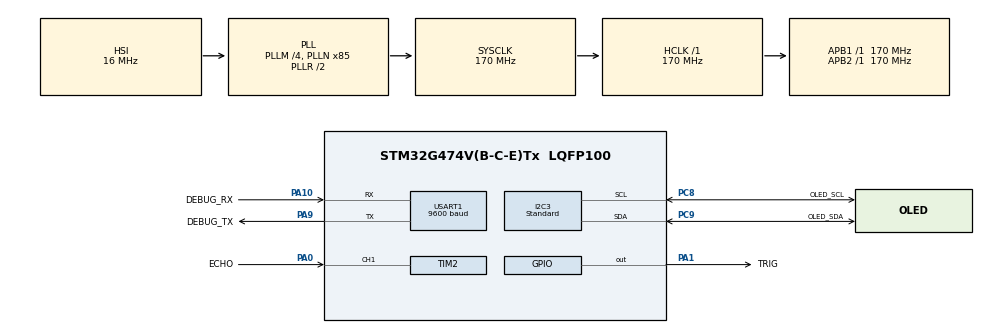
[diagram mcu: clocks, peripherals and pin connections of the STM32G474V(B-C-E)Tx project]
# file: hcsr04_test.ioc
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Mcu.Family=STM32G4
Mcu.Name=STM32G474V(B-C-E)Tx
Mcu.Package=LQFP100
NVIC.PriorityGroup=NVIC_PRIORITYGROUP_4
PA0.GPIO_Label=ECHO
PA0.Signal=S_TIM2_CH1
PA1.GPIO_Label=TRIG
PA1.Signal=GPIO_Output
PA10.GPIO_Label=DEBUG_RX
PA10.Mode=Asynchronous
PA10.Signal=USART1_RX
PA13.Mode=Serial_Wire
PA13.Signal=SYS_JTMS-SWDIO
PA14.Mode=Serial_Wire
PA14.Signal=SYS_JTCK-SWCLK
PA9.GPIO_Label=DEBUG_TX
PA9.Mode=Asynchronous
PA9.Signal=USART1_TX
PC14-OSC32_IN.Mode=LSE-External-Oscillator
PC14-OSC32_IN.Signal=RCC_OSC32_IN
PC15-OSC32_OUT.Mode=LSE-External-Oscillator
PC15-OSC32_OUT.Signal=RCC_OSC32_OUT
PC8.GPIO_Label=OLED_SCL
PC8.GPIO_Speed=GPIO_SPEED_FREQ_LOW
PC8.Mode=I2C
PC8.Signal=I2C3_SCL
PC9.GPIO_Label=OLED_SDA
PC9.GPIO_Speed=GPIO_SPEED_FREQ_LOW
PC9.Mode=I2C
PC9.Signal=I2C3_SDA
PF0-OSC_IN.Mode=HSE-External-Oscillator
PF0-OSC_IN.Signal=RCC_OSC_IN
PF1-OSC_OUT.Mode=HSE-External-Oscillator
PF1-OSC_OUT.Signal=RCC_OSC_OUT
ProjectManager.HeapSize=0x200
ProjectManager.StackSize=0x400
ProjectManager.TargetToolchain=STM32CubeIDE
RCC.ADC12Freq_Value=170000000
RCC.ADC345Freq_Value=170000000
RCC.AHBFreq_Value=170000000
RCC.APB1Freq_Value=170000000
RCC.APB1TimFreq_Value=170000000
RCC.APB2Freq_Value=170000000
RCC.APB2TimFreq_Value=170000000
RCC.CortexFreq_Value=170000000
RCC.EXTERNAL_CLOCK_VALUE=12288000
RCC.HCLKFreq_Value=170000000
RCC.HSE_VALUE=8000000
RCC.HSI48_VALUE=48000000
RCC.HSI_VALUE=16000000
RCC.PLLM=RCC_PLLM_DIV4
RCC.PLLN=85
RCC.SYSCLKFreq_VALUE=170000000
RCC.SYSCLKSource=RCC_SYSCLKSOURCE_PLLCLK
RCC.USBFreq_Value=170000000
RCC.VCOOutputFreq_Value=340000000
I2C3.AddressingMode=I2C_ADDRESSINGMODE_7BIT
I2C3.Analog_Filter=I2C_ANALOGFILTER_ENABLE
I2C3.DualAddressMode=I2C_DUALADDRESS_DISABLE
I2C3.GeneralCallMode=I2C_GENERALCALL_DISABLE
I2C3.I2C_Coeff_DF=0
I2C3.I2C_Fall_Time=20
I2C3.I2C_Rise_Time=640
I2C3.I2C_Speed_Mode=I2C_Standard
I2C3.NoStretchMode=I2C_NOSTRETCH_DISABLE
I2C3.OwnAddress=0
I2C3.Speed=100
I2C3.Timing=0x40829D9F
SH.S_TIM2_CH1.0=TIM2_CH1,Input_Capture1_from_TI1
SH.S_TIM2_CH1.1=TIM2_CH1,Input_Capture2_from_TI1
TIM2.AutoReloadPreload=TIM_AUTORELOAD_PRELOAD_DISABLE
TIM2.Channel-Input_Capture1_from_TI1=TIM_CHANNEL_1
TIM2.Channel-Input_Capture2_from_TI1=TIM_CHANNEL_2
TIM2.ClockDivision=TIM_CLOCKDIVISION_DIV1
TIM2.CounterMode=TIM_COUNTERMODE_UP
TIM2.ICFilter_CH1=0
TIM2.ICPolarity_CH1=TIM_INPUTCHANNELPOLARITY_RISING
TIM2.ICPolarity_CH2=TIM_INPUTCHANNELPOLARITY_FALLING
TIM2.ICPrescaler-Input_Capture1_from_TI1=TIM_ICPSC_DIV1
TIM2.ICPrescaler-Input_Capture2_from_TI1=TIM_ICPSC_DIV1
TIM2.ICSelection-Input_Capture1_from_TI1=TIM_ICSELECTION_DIRECTTI
TIM2.ICSelection-Input_Capture2_from_TI1=TIM_ICSELECTION_INDIRECTTI
TIM2.Period=0xFFFFFFFF
TIM2.Prescaler=169
TIM2.SlaveMode=TIM_SLAVEMODE_RESET
TIM2.TriggerFilter=0
TIM2.TriggerPolarity=TIM_TRIGGERPOLARITY_RISING
TIM2.TriggerPrescaler=TIM_TRIGGERPRESCALER_DIV1
TIM2.TriggerSource=TIM_TS_TI1FP1
USART1.BaudRate=9600
USART1.Mode=MODE_TX_RX
USART1.OneBitSampling=UART_ONE_BIT_SAMPLE_DISABLE
USART1.OverSampling=UART_OVERSAMPLING_16
USART1.Parity=PARITY_NONE
USART1.StopBits=STOPBITS_1
USART1.VirtualMode-Asynchronous=VM_ASYNC
USART1.WordLength=WORDLENGTH_8B
VP_SYS_VS_DBSignals.Mode=DisableDeadBatterySignals
board=custom

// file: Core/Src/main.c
/* USER CODE BEGIN Header */
/**
  ******************************************************************************
  * @file           : main.c
  * @brief          : Main program body
  ******************************************************************************
  * @attention
  *
  * Copyright (c) 2026 STMicroelectronics.
  * All rights reserved.
  *
  * This software is licensed under terms that can be found in the LICENSE file
  * in the root directory of this software component.
  * If no LICENSE file comes with this software, it is provided AS-IS.
  *
  ******************************************************************************
  */
/* USER CODE END Header */
#include "main.h"
#include "i2c.h"
#include "tim.h"
#include "usart.h"
#include "gpio.h"

/* USER CODE BEGIN Includes */
#include "hcsr04.h"
#include "ssd1315.h"
#include <stdio.h>
/* USER CODE END Includes */

/* USER CODE BEGIN PD */
#define APP_MEASUREMENT_PERIOD_MS  200U
#define APP_OLED_RETRY_PERIOD_MS  1000U
#define APP_SELF_TEST_OK_TIME_MS   1000U
#define APP_PAGE_FLASH_TIME_MS      200U
#define APP_UART_TIMEOUT_MS         100U
/* USER CODE END PD */

/* USER CODE BEGIN PV */
static uint8_t s_oled_ready;
static uint32_t s_oled_last_retry_ms;
/* USER CODE END PV */

void SystemClock_Config(void);
/* USER CODE BEGIN PFP */
static void App_Init(void);
static void App_Process(void);
static void App_SendUartResult(const HCSR04_Result *measurement);
static void App_UpdateOled(const HCSR04_Result *measurement);
static void App_RunStartupSelfTest(void);
static uint8_t App_ShowSelfTestPage(HCSR04_Status sensor_status,
                                    uint8_t checking);
static const char *App_GetSensorStatusText(HCSR04_Status status);
static const char *App_GetTrackingState(const HCSR04_Result *measurement);
/* USER CODE END PFP */

/* USER CODE BEGIN 0 */
/**
  * @brief  Converts the sensor self-test status to a display string.
  */
static const char *App_GetSensorStatusText(HCSR04_Status status)
{
  switch (status)
  {
    case HCSR04_OK:
      return "SENSOR: OK";
    case HCSR04_TIMEOUT:
    case HCSR04_OUT_OF_RANGE:
      return "SENSOR: ERROR";
    case HCSR04_ECHO_STUCK_HIGH:
      return "SENSOR: ECHO HIGH";
    case HCSR04_TIMER_ERROR:
    default:
      return "SENSOR: TIMER ERR";
  }
}

/**
  * @brief  Classifies the latest valid distance for the tracking task.
  */
static const char *App_GetTrackingState(const HCSR04_Result *measurement)
{
  if ((measurement == NULL) || (measurement->status != HCSR04_OK))
  {
    return "--";
  }

  if ((measurement->distance_mm <= 30U) ||
      (measurement->distance_mm > 1000U))
  {
    return "--";
  }
  if (measurement->distance_mm < 150U)
  {
    return "CLOSE";
  }
  if (measurement->distance_mm < 250U)
  {
    return "OK";
  }
  if (measurement->distance_mm < 500U)
  {
    return "FAR";
  }

  return "FIND";
}

/**
  * @brief  Renders one complete measurement page in the OLED framebuffer.
  * @retval 1 when the I2C transfer succeeds, otherwise 0.
  */
static uint8_t App_ShowMeasurement(const HCSR04_Result *measurement)
{
  char distance_line[22];
  char echo_line[22];
  char state_line[22];

  if ((measurement == NULL) || (SSD1315_IsReady() == 0U))
  {
    return 0U;
  }

  if (measurement->status == HCSR04_OK)
  {
    (void)snprintf(distance_line, sizeof(distance_line), "DIST: %lu.%01lu CM",
                   (unsigned long)(measurement->distance_mm / 10U),
                   (unsigned long)(measurement->distance_mm % 10U));
  }
  else
  {
    (void)snprintf(distance_line, sizeof(distance_line), "DIST: --.- CM");
  }

  (void)snprintf(echo_line, sizeof(echo_line), "ECHO: %lu US",
                 (unsigned long)measurement->echo_time_us);
  (void)snprintf(state_line, sizeof(state_line), "STATE: %s",
                 App_GetTrackingState(measurement));

  SSD1315_Clear();
  SSD1315_SetCursor(0U, 0U);
  SSD1315_WriteString("HC-SR04 TEST");
  SSD1315_SetCursor(0U, 16U);
  SSD1315_WriteString(distance_line);
  SSD1315_SetCursor(0U, 32U);
  SSD1315_WriteString(echo_line);
  SSD1315_SetCursor(0U, 48U);
  SSD1315_WriteString(state_line);

  return SSD1315_Update();
}

/**
  * @brief  Renders the startup self-test page.
  */
static uint8_t App_ShowSelfTestPage(HCSR04_Status sensor_status,
                                    uint8_t checking)
{
  if (SSD1315_IsReady() == 0U)
  {
    return 0U;
  }

  SSD1315_Clear();
  SSD1315_SetCursor(0U, 0U);
  SSD1315_WriteString("HC-SR04 TEST");
  SSD1315_SetCursor(0U, 16U);
  SSD1315_WriteString((checking != 0U) ? "STATUS: CHECK" :
                      ((sensor_status == HCSR04_OK) ? "STATUS: OK" :
                                                     "STATUS: ERROR"));
  SSD1315_SetCursor(0U, 32U);
  SSD1315_WriteString("OLED: OK");
  SSD1315_SetCursor(0U, 48U);
  SSD1315_WriteString((checking != 0U) ? "SENSOR: CHECK" :
                                        App_GetSensorStatusText(sensor_status));

  return SSD1315_Update();
}

/**
  * @brief  Waits for the OLED and basic ultrasonic hardware checks to pass.
  */
static void App_RunStartupSelfTest(void)
{
  HCSR04_Status sensor_status;

  for (;;)
  {
    if (SSD1315_IsReady() == 0U)
    {
      s_oled_ready = SSD1315_Init();
      if (s_oled_ready == 0U)
      {
        static const char oled_error[] = "self_test:OLED_ERR\r\n";
        (void)HAL_UART_Transmit(&huart1, (const uint8_t *)oled_error,
                                (uint16_t)(sizeof(oled_error) - 1U),
                                APP_UART_TIMEOUT_MS);
        HAL_Delay(APP_OLED_RETRY_PERIOD_MS);
        continue;
      }
    }

    if (App_ShowSelfTestPage(HCSR04_OK, 1U) == 0U)
    {
      s_oled_ready = 0U;
      continue;
    }

    HCSR04_Init();
    sensor_status = HCSR04_SelfTest();
    if (App_ShowSelfTestPage(sensor_status, 0U) == 0U)
    {
      s_oled_ready = 0U;
      continue;
    }

    if (sensor_status == HCSR04_OK)
    {
      static const char self_test_ok[] = "self_test:OK\r\n";
      (void)HAL_UART_Transmit(&huart1, (const uint8_t *)self_test_ok,
                              (uint16_t)(sizeof(self_test_ok) - 1U),
                              APP_UART_TIMEOUT_MS);
      HAL_Delay(APP_SELF_TEST_OK_TIME_MS);
      SSD1315_Clear();
      s_oled_ready = SSD1315_Update();
      HAL_Delay(APP_PAGE_FLASH_TIME_MS);
      return;
    }

    {
      char self_test_line[48];
      const int length = snprintf(self_test_line, sizeof(self_test_line),
                                  "self_test:%s\r\n",
                                  App_GetSensorStatusText(sensor_status));
      if (length > 0)
      {
        const uint16_t transmit_length =
            (length < (int)sizeof(self_test_line)) ?
            (uint16_t)length : (uint16_t)(sizeof(self_test_line) - 1U);
        (void)HAL_UART_Transmit(&huart1, (uint8_t *)self_test_line,
                                transmit_length, APP_UART_TIMEOUT_MS);
      }
    }

    HAL_Delay(APP_OLED_RETRY_PERIOD_MS);
  }
}

/**
  * @brief  Initializes the application drivers after CubeMX peripherals.
  */
static void App_Init(void)
{
  static const char banner[] =
      "\r\nHC-SR04 PWM input test ready (USART1 9600 8N1)\r\n";

  (void)HAL_UART_Transmit(&huart1, (const uint8_t *)banner,
                          (uint16_t)(sizeof(banner) - 1U),
                          APP_UART_TIMEOUT_MS);

  s_oled_ready = 0U;
  App_RunStartupSelfTest();
  s_oled_last_retry_ms = HAL_GetTick();
}

/**
  * @brief  Sends one measurement in a serial-terminal-friendly format.
  */
static void App_SendUartResult(const HCSR04_Result *measurement)
{
  char line[96];
  int length;

  if (measurement == NULL)
  {
    return;
  }

  if (measurement->status == HCSR04_OK)
  {
    length = snprintf(line, sizeof(line),
                      "distance_cm:%lu.%01lu,echo_us:%lu,status:%u,state:%s\r\n",
                      (unsigned long)(measurement->distance_mm / 10U),
                      (unsigned long)(measurement->distance_mm % 10U),
                      (unsigned long)measurement->echo_time_us,
                      (unsigned int)measurement->status,
                      App_GetTrackingState(measurement));
  }
  else
  {
    length = snprintf(line, sizeof(line),
                      "distance_cm:0.0,echo_us:%lu,status:%u,state:--\r\n",
                      (unsigned long)measurement->echo_time_us,
                      (unsigned int)measurement->status);
  }

  if (length > 0)
  {
    const uint16_t transmit_length =
        (length < (int)sizeof(line)) ?
        (uint16_t)length : (uint16_t)(sizeof(line) - 1U);

    (void)HAL_UART_Transmit(&huart1, (uint8_t *)line, transmit_length,
                            APP_UART_TIMEOUT_MS);
  }
}

/**
  * @brief  Updates the OLED and periodically reconnects a missing display.
  */
static void App_UpdateOled(const HCSR04_Result *measurement)
{
  const uint32_t now = HAL_GetTick();

  if (s_oled_ready != 0U)
  {
    s_oled_ready = App_ShowMeasurement(measurement);
  }
  else if ((now - s_oled_last_retry_ms) >= APP_OLED_RETRY_PERIOD_MS)
  {
    s_oled_last_retry_ms = now;
    s_oled_ready = SSD1315_Init();
    if (s_oled_ready != 0U)
    {
      s_oled_ready = App_ShowMeasurement(measurement);
    }
  }
}

/**
  * @brief  Performs one measurement, report and display cycle.
  */
static void App_Process(void)
{
  const HCSR04_Result measurement = HCSR04_Measure();

  App_SendUartResult(&measurement);
  App_UpdateOled(&measurement);
  HAL_Delay(APP_MEASUREMENT_PERIOD_MS);
}

/* USER CODE END 0 */

int main(void)
{

  /* MCU Configuration--------------------------------------------------------*/

  /* Reset of all peripherals, Initializes the Flash interface and the Systick. */
  HAL_Init();

  /* Configure the system clock */
  SystemClock_Config();

  /* Initialize all configured peripherals */
  MX_GPIO_Init();
  MX_I2C3_Init();
  MX_TIM2_Init();
  MX_USART1_UART_Init();
  /* USER CODE BEGIN 2 */
  App_Init();
  /* USER CODE END 2 */

  /* Infinite loop */
  while (1)
  {

    /* USER CODE BEGIN 3 */
    App_Process();
  }
  /* USER CODE END 3 */
}

void SystemClock_Config(void)
{
  RCC_OscInitTypeDef RCC_OscInitStruct = {0};
  RCC_ClkInitTypeDef RCC_ClkInitStruct = {0};

  /** Configure the main internal regulator output voltage
  */
  HAL_PWREx_ControlVoltageScaling(PWR_REGULATOR_VOLTAGE_SCALE1_BOOST);

  /** Initializes the RCC Oscillators according to the specified parameters
  * in the RCC_OscInitTypeDef structure.
  */
  RCC_OscInitStruct.OscillatorType = RCC_OSCILLATORTYPE_HSI;
  RCC_OscInitStruct.HSIState = RCC_HSI_ON;
  RCC_OscInitStruct.HSICalibrationValue = RCC_HSICALIBRATION_DEFAULT;
  RCC_OscInitStruct.PLL.PLLState = RCC_PLL_ON;
  RCC_OscInitStruct.PLL.PLLSource = RCC_PLLSOURCE_HSI;
  RCC_OscInitStruct.PLL.PLLM = RCC_PLLM_DIV4;
  RCC_OscInitStruct.PLL.PLLN = 85;
  RCC_OscInitStruct.PLL.PLLP = RCC_PLLP_DIV2;
  RCC_OscInitStruct.PLL.PLLQ = RCC_PLLQ_DIV2;
  RCC_OscInitStruct.PLL.PLLR = RCC_PLLR_DIV2;
  if (HAL_RCC_OscConfig(&RCC_OscInitStruct) != HAL_OK)
  {
    Error_Handler();
  }

  /** Initializes the CPU, AHB and APB buses clocks
  */
  RCC_ClkInitStruct.ClockType = RCC_CLOCKTYPE_HCLK|RCC_CLOCKTYPE_SYSCLK
                              |RCC_CLOCKTYPE_PCLK1|RCC_CLOCKTYPE_PCLK2;
  RCC_ClkInitStruct.SYSCLKSource = RCC_SYSCLKSOURCE_PLLCLK;
  RCC_ClkInitStruct.AHBCLKDivider = RCC_SYSCLK_DIV1;
  RCC_ClkInitStruct.APB1CLKDivider = RCC_HCLK_DIV1;
  RCC_ClkInitStruct.APB2CLKDivider = RCC_HCLK_DIV1;

  if (HAL_RCC_ClockConfig(&RCC_ClkInitStruct, FLASH_LATENCY_4) != HAL_OK)
  {
    Error_Handler();
  }
}

void Error_Handler(void)
{
  __disable_irq();
  while (1)
  {
  }
}
